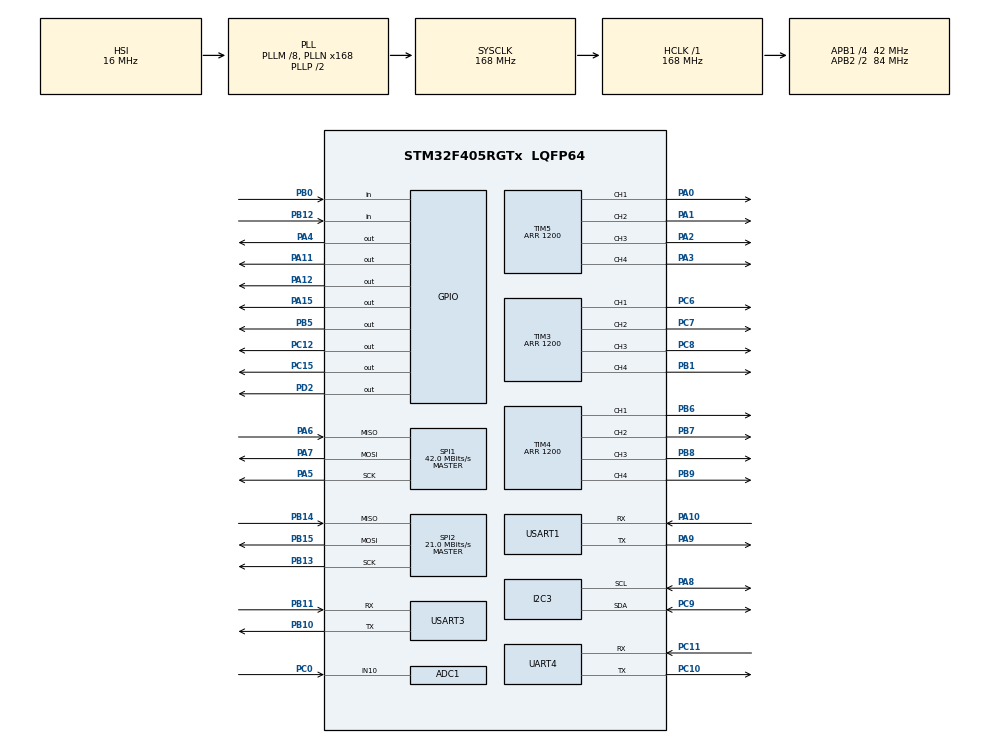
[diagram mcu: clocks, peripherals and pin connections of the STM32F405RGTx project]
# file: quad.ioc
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ADC1.Channel-0\#ChannelRegularConversion=ADC_CHANNEL_10
ADC1.ClockPrescaler=ADC_CLOCK_SYNC_PCLK_DIV4
ADC1.ContinuousConvMode=DISABLE
ADC1.DMAContinuousRequests=DISABLE
ADC1.DataAlign=ADC_DATAALIGN_RIGHT
ADC1.DiscontinuousConvMode=DISABLE
ADC1.EOCSelection=ADC_EOC_SINGLE_CONV
ADC1.EnableAnalogWatchDog=false
ADC1.ExternalTrigConvEdge=ADC_EXTERNALTRIGCONVEDGE_NONE
ADC1.InjNumberOfConversion=0
ADC1.NbrOfConversion=1
ADC1.NbrOfConversionFlag=1
ADC1.Rank-0\#ChannelRegularConversion=1
ADC1.Resolution=ADC_RESOLUTION_12B
ADC1.SamplingTime-0\#ChannelRegularConversion=ADC_SAMPLETIME_3CYCLES
ADC1.ScanConvMode=DISABLE
ADC1.master=1
Dma.Request0=USART1_TX
Dma.Request1=UART4_TX
Dma.Request2=USART3_TX
Dma.UART4_TX.1.Direction=DMA_MEMORY_TO_PERIPH
Dma.UART4_TX.1.FIFOMode=DMA_FIFOMODE_DISABLE
Dma.UART4_TX.1.Instance=DMA1_Stream4
Dma.UART4_TX.1.MemDataAlignment=DMA_MDATAALIGN_BYTE
Dma.UART4_TX.1.MemInc=DMA_MINC_ENABLE
Dma.UART4_TX.1.Mode=DMA_NORMAL
Dma.UART4_TX.1.PeriphDataAlignment=DMA_PDATAALIGN_BYTE
Dma.UART4_TX.1.PeriphInc=DMA_PINC_DISABLE
Dma.UART4_TX.1.Priority=DMA_PRIORITY_LOW
Dma.USART1_TX.0.Direction=DMA_MEMORY_TO_PERIPH
Dma.USART1_TX.0.FIFOMode=DMA_FIFOMODE_DISABLE
Dma.USART1_TX.0.Instance=DMA2_Stream7
Dma.USART1_TX.0.MemDataAlignment=DMA_MDATAALIGN_BYTE
Dma.USART1_TX.0.MemInc=DMA_MINC_ENABLE
Dma.USART1_TX.0.Mode=DMA_NORMAL
Dma.USART1_TX.0.PeriphDataAlignment=DMA_PDATAALIGN_BYTE
Dma.USART1_TX.0.PeriphInc=DMA_PINC_DISABLE
Dma.USART1_TX.0.Priority=DMA_PRIORITY_LOW
Dma.USART3_TX.2.Direction=DMA_MEMORY_TO_PERIPH
Dma.USART3_TX.2.FIFOMode=DMA_FIFOMODE_DISABLE
Dma.USART3_TX.2.Instance=DMA1_Stream3
Dma.USART3_TX.2.MemDataAlignment=DMA_MDATAALIGN_BYTE
Dma.USART3_TX.2.MemInc=DMA_MINC_ENABLE
Dma.USART3_TX.2.Mode=DMA_NORMAL
Dma.USART3_TX.2.PeriphDataAlignment=DMA_PDATAALIGN_BYTE
Dma.USART3_TX.2.PeriphInc=DMA_PINC_DISABLE
Dma.USART3_TX.2.Priority=DMA_PRIORITY_LOW
Mcu.Family=STM32F4
Mcu.Name=STM32F405RGTx
Mcu.Package=LQFP64
NVIC.DMA1_Stream3_IRQn=true\:0\:0\:false\:false\:true
NVIC.DMA1_Stream4_IRQn=true\:0\:0\:false\:false\:true
NVIC.DMA2_Stream7_IRQn=true\:0\:0\:false\:false\:true
NVIC.PriorityGroup=NVIC_PRIORITYGROUP_4
NVIC.UART4_IRQn=true\:0\:0\:false\:false\:true
NVIC.USART1_IRQn=true\:0\:0\:false\:false\:true
NVIC.USART3_IRQn=true\:0\:0\:false\:false\:true
PA0-WKUP.Signal=S_TIM5_CH1
PA1.Signal=S_TIM5_CH2
PA10.Mode=Asynchronous
PA10.Signal=USART1_RX
PA11.Signal=GPIO_Output
PA12.Signal=GPIO_Output
PA15.Signal=GPIO_Output
PA2.Signal=S_TIM5_CH3
PA3.Signal=S_TIM5_CH4
PA4.Signal=GPIO_Output
PA5.Mode=Full_Duplex_Master
PA5.Signal=SPI1_SCK
PA6.Mode=Full_Duplex_Master
PA6.Signal=SPI1_MISO
PA7.Mode=Full_Duplex_Master
PA7.Signal=SPI1_MOSI
PA8.Mode=I2C
PA8.Signal=I2C3_SCL
PA9.Mode=Asynchronous
PA9.Signal=USART1_TX
PB0.Signal=GPIO_Input
PB1.Signal=S_TIM3_CH4
PB10.Mode=Asynchronous
PB10.Signal=USART3_TX
PB11.Mode=Asynchronous
PB11.Signal=USART3_RX
PB12.Signal=GPIO_Input
PB13.Mode=Full_Duplex_Master
PB13.Signal=SPI2_SCK
PB14.Mode=Full_Duplex_Master
PB14.Signal=SPI2_MISO
PB15.Mode=Full_Duplex_Master
PB15.Signal=SPI2_MOSI
PB5.Signal=GPIO_Output
PB6.Signal=S_TIM4_CH1
PB7.Signal=S_TIM4_CH2
PB8.Signal=S_TIM4_CH3
PB9.Signal=S_TIM4_CH4
PC0.Signal=ADCx_IN10
PC10.Mode=Asynchronous
PC10.Signal=UART4_TX
PC11.Mode=Asynchronous
PC11.Signal=UART4_RX
PC12.Signal=GPIO_Output
PC15-OSC32_OUT.Signal=GPIO_Output
PC6.Signal=S_TIM3_CH1
PC7.Signal=S_TIM3_CH2
PC8.Signal=S_TIM3_CH3
PC9.Mode=I2C
PC9.Signal=I2C3_SDA
PD2.Signal=GPIO_Output
PH0-OSC_IN.Mode=HSE-External-Clock-Source
PH0-OSC_IN.Signal=RCC_OSC_IN
PH1-OSC_OUT.Mode=HSE-External-Clock-Source
PH1-OSC_OUT.Signal=RCC_OSC_OUT
ProjectManager.HeapSize=0x200
ProjectManager.StackSize=0x400
ProjectManager.TargetToolchain=EWARM
RCC.48MHZClocksFreq_Value=84000000
RCC.AHBFreq_Value=168000000
RCC.APB1CLKDivider=RCC_HCLK_DIV4
RCC.APB1Freq_Value=42000000
RCC.APB1TimFreq_Value=84000000
RCC.APB2CLKDivider=RCC_HCLK_DIV2
RCC.APB2Freq_Value=84000000
RCC.APB2TimFreq_Value=168000000
RCC.CortexFreq_Value=168000000
RCC.HCLKFreq_Value=168000000
RCC.HSE_VALUE=8000000
RCC.HSI_VALUE=16000000
RCC.LSE_VALUE=32768
RCC.PLLM=8
RCC.PLLN=168
RCC.SYSCLKFreq_VALUE=168000000
RCC.SYSCLKSource=RCC_SYSCLKSOURCE_PLLCLK
RCC.VCOOutputFreq_Value=336000000
SH.ADCx_IN10.0=ADC1_IN10,IN10
SH.S_TIM3_CH1.0=TIM3_CH1,PWM Generation1 CH1
SH.S_TIM3_CH2.0=TIM3_CH2,PWM Generation2 CH2
SH.S_TIM3_CH3.0=TIM3_CH3,PWM Generation3 CH3
SH.S_TIM3_CH4.0=TIM3_CH4,PWM Generation4 CH4
SH.S_TIM4_CH1.0=TIM4_CH1,PWM Generation1 CH1
SH.S_TIM4_CH2.0=TIM4_CH2,PWM Generation2 CH2
SH.S_TIM4_CH3.0=TIM4_CH3,PWM Generation3 CH3
SH.S_TIM4_CH4.0=TIM4_CH4,PWM Generation4 CH4
SH.S_TIM5_CH1.0=TIM5_CH1,PWM Generation1 CH1
SH.S_TIM5_CH2.0=TIM5_CH2,PWM Generation2 CH2
SH.S_TIM5_CH3.0=TIM5_CH3,PWM Generation3 CH3
SH.S_TIM5_CH4.0=TIM5_CH4,PWM Generation4 CH4
SPI1.CalculateBaudRate=42.0 MBits/s
SPI1.Mode=SPI_MODE_MASTER
SPI2.CalculateBaudRate=21.0 MBits/s
SPI2.Mode=SPI_MODE_MASTER
TIM3.Channel-PWM\ Generation2\ CH2=TIM_CHANNEL_2
TIM3.Channel-PWM\ Generation3\ CH3=TIM_CHANNEL_3
TIM3.Channel-PWM\ Generation4\ CH4=TIM_CHANNEL_4
TIM3.Period=1200
TIM4.Channel-PWM\ Generation2\ CH2=TIM_CHANNEL_2
TIM4.Channel-PWM\ Generation3\ CH3=TIM_CHANNEL_3
TIM4.Channel-PWM\ Generation4\ CH4=TIM_CHANNEL_4
TIM4.Period=1200
TIM5.Channel-PWM\ Generation2\ CH2=TIM_CHANNEL_2
TIM5.Channel-PWM\ Generation3\ CH3=TIM_CHANNEL_3
TIM5.Channel-PWM\ Generation4\ CH4=TIM_CHANNEL_4
TIM5.Period=1200
VP_TIM3_VS_ClockSourceINT.Mode=Internal
VP_TIM4_VS_ClockSourceINT.Mode=Internal
VP_TIM5_VS_ClockSourceINT.Mode=Internal
board=quad

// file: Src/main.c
/**
  ******************************************************************************
  * File Name          : main.c
  * Description        : Main program body
  ******************************************************************************
  *
  * COPYRIGHT(c) 2016 STMicroelectronics
  *
  * Redistribution and use in source and binary forms, with or without modification,
  * are permitted provided that the following conditions are met:
  *   1. Redistributions of source code must retain the above copyright notice,
  *      this list of conditions and the following disclaimer.
  *   2. Redistributions in binary form must reproduce the above copyright notice,
  *      this list of conditions and the following disclaimer in the documentation
  *      and/or other materials provided with the distribution.
  *   3. Neither the name of STMicroelectronics nor the names of its contributors
  *      may be used to endorse or promote products derived from this software
  *      without specific prior written permission.
  *
  * THIS SOFTWARE IS PROVIDED BY THE COPYRIGHT HOLDERS AND CONTRIBUTORS "AS IS"
  * AND ANY EXPRESS OR IMPLIED WARRANTIES, INCLUDING, BUT NOT LIMITED TO, THE
  * IMPLIED WARRANTIES OF MERCHANTABILITY AND FITNESS FOR A PARTICULAR PURPOSE ARE
  * DISCLAIMED. IN NO EVENT SHALL THE COPYRIGHT HOLDER OR CONTRIBUTORS BE LIABLE
  * FOR ANY DIRECT, INDIRECT, INCIDENTAL, SPECIAL, EXEMPLARY, OR CONSEQUENTIAL
  * DAMAGES (INCLUDING, BUT NOT LIMITED TO, PROCUREMENT OF SUBSTITUTE GOODS OR
  * SERVICES; LOSS OF USE, DATA, OR PROFITS; OR BUSINESS INTERRUPTION) HOWEVER
  * CAUSED AND ON ANY THEORY OF LIABILITY, WHETHER IN CONTRACT, STRICT LIABILITY,
  * OR TORT (INCLUDING NEGLIGENCE OR OTHERWISE) ARISING IN ANY WAY OUT OF THE USE
  * OF THIS SOFTWARE, EVEN IF ADVISED OF THE POSSIBILITY OF SUCH DAMAGE.
  *
  ******************************************************************************
  */
#include "stm32f4xx_hal.h"

/* USER CODE BEGIN Includes */
#include "ms5611.h"
#include "mpu9250.h"
#include "log.h"
#include "data.h"
#include "pid.h"
#include "ANO_DT.h"
/* USER CODE END Includes */

ADC_HandleTypeDef hadc1;

I2C_HandleTypeDef hi2c3;

SPI_HandleTypeDef hspi1;
SPI_HandleTypeDef hspi2;

TIM_HandleTypeDef htim3;
TIM_HandleTypeDef htim4;
TIM_HandleTypeDef htim5;

UART_HandleTypeDef huart4;
UART_HandleTypeDef huart1;
UART_HandleTypeDef huart3;
DMA_HandleTypeDef hdma_uart4_tx;
DMA_HandleTypeDef hdma_usart1_tx;
DMA_HandleTypeDef hdma_usart3_tx;

/* USER CODE BEGIN PV */
/* Private variables ---------------------------------------------------------*/

/* USER CODE END PV */

void SystemClock_Config(void);
void Error_Handler(void);
static void MX_GPIO_Init(void);
static void MX_DMA_Init(void);
static void MX_ADC1_Init(void);
static void MX_I2C3_Init(void);
static void MX_SPI1_Init(void);
static void MX_SPI2_Init(void);
static void MX_TIM3_Init(void);
static void MX_TIM4_Init(void);
static void MX_TIM5_Init(void);
static void MX_UART4_Init(void);
static void MX_USART1_UART_Init(void);
static void MX_USART3_UART_Init(void);

void HAL_TIM_MspPostInit(TIM_HandleTypeDef *htim);

/* USER CODE BEGIN PFP */
/* Private function prototypes -----------------------------------------------*/

/* USER CODE END PFP */

/* USER CODE BEGIN 0 */
uint16_t data=0;
float t,p;
int16_t accel[3],gyro[3],mag[3];
uint8_t b=0;
uint32_t adc;

/* USER CODE END 0 */

int main(void)
{

  /* USER CODE BEGIN 1 */
  static uint32_t pass1tick,newtick,pass2tick;
  /* USER CODE END 1 */

  /* MCU Configuration----------------------------------------------------------*/

  /* Reset of all peripherals, Initializes the Flash interface and the Systick. */
  HAL_Init();

  /* Configure the system clock */
  SystemClock_Config();

  /* Initialize all configured peripherals */
  MX_GPIO_Init();
  MX_DMA_Init();
  MX_ADC1_Init();
  MX_I2C3_Init();
  MX_SPI1_Init();
  MX_SPI2_Init();
  MX_TIM3_Init();
  MX_TIM4_Init();
  MX_TIM5_Init();
  MX_UART4_Init();
  MX_USART1_UART_Init();
  MX_USART3_UART_Init();

  /* USER CODE BEGIN 2 */
  HAL_UART_Receive_IT(&huart3,&b,1);
  MPU9250_Init();
  DataInit();
  control_init();
  throttle(00);
  HAL_ADC_Start(&hadc1);
  pass1tick=HAL_GetTick();
  pass2tick=pass1tick;
  /* USER CODE END 2 */

  /* Infinite loop */
  while (1)
  {

  /* USER CODE BEGIN 3 */
    if(((newtick=HAL_GetTick())-pass1tick)>=2)
    {
      pass1tick=newtick;
      UpdateData();
      control_updata();
    }
    if(((newtick=HAL_GetTick())-pass2tick)>=20)
    {
      //transport();
      //printf("test\n");
      adc=HAL_ADC_GetValue(&hadc1);
      pass2tick=newtick;
    }

    //uint8_t a[10]={0xa1,0xa2,0xa3,0xa4,0xa5,0xa6,0xa7,0xa8,0xa9,0xaa};
    //MPU9250_Get9AxisRawData(accel,gyro,mag);
    //UpdataSensorData();

    //HAL_UART_Transmit(&huart1, &a, 1,200);
    //HAL_UART_Transmit_DMA(&huart1,a,10);
    //HAL_UART_Receive_IT(&huart1,&b,1);
    //HAL_Delay(1000);
  }
  /* USER CODE END 3 */

}

/** System Clock Configuration
*/
void SystemClock_Config(void)
{

  RCC_OscInitTypeDef RCC_OscInitStruct;
  RCC_ClkInitTypeDef RCC_ClkInitStruct;

  __HAL_RCC_PWR_CLK_ENABLE();

  __HAL_PWR_VOLTAGESCALING_CONFIG(PWR_REGULATOR_VOLTAGE_SCALE1);

  RCC_OscInitStruct.OscillatorType = RCC_OSCILLATORTYPE_HSI;
  RCC_OscInitStruct.HSIState = RCC_HSI_ON;
  RCC_OscInitStruct.HSICalibrationValue = 16;
  RCC_OscInitStruct.PLL.PLLState = RCC_PLL_ON;
  RCC_OscInitStruct.PLL.PLLSource = RCC_PLLSOURCE_HSI;
  RCC_OscInitStruct.PLL.PLLM = 8;
  RCC_OscInitStruct.PLL.PLLN = 168;
  RCC_OscInitStruct.PLL.PLLP = RCC_PLLP_DIV2;
  RCC_OscInitStruct.PLL.PLLQ = 4;
  if (HAL_RCC_OscConfig(&RCC_OscInitStruct) != HAL_OK)
  {
    Error_Handler();
  }

  RCC_ClkInitStruct.ClockType = RCC_CLOCKTYPE_HCLK|RCC_CLOCKTYPE_SYSCLK
                              |RCC_CLOCKTYPE_PCLK1|RCC_CLOCKTYPE_PCLK2;
  RCC_ClkInitStruct.SYSCLKSource = RCC_SYSCLKSOURCE_PLLCLK;
  RCC_ClkInitStruct.AHBCLKDivider = RCC_SYSCLK_DIV1;
  RCC_ClkInitStruct.APB1CLKDivider = RCC_HCLK_DIV4;
  RCC_ClkInitStruct.APB2CLKDivider = RCC_HCLK_DIV2;
  if (HAL_RCC_ClockConfig(&RCC_ClkInitStruct, FLASH_LATENCY_5) != HAL_OK)
  {
    Error_Handler();
  }

  HAL_SYSTICK_Config(HAL_RCC_GetHCLKFreq()/1000);

  HAL_SYSTICK_CLKSourceConfig(SYSTICK_CLKSOURCE_HCLK);

  /* SysTick_IRQn interrupt configuration */
  HAL_NVIC_SetPriority(SysTick_IRQn, 0, 0);
}

/* ADC1 init function */
static void MX_ADC1_Init(void)
{

  ADC_ChannelConfTypeDef sConfig;

    /**Configure the global features of the ADC (Clock, Resolution, Data Alignment and number of conversion)
    */
  hadc1.Instance = ADC1;
  hadc1.Init.ClockPrescaler = ADC_CLOCK_SYNC_PCLK_DIV4;
  hadc1.Init.Resolution = ADC_RESOLUTION_12B;
  hadc1.Init.ScanConvMode = DISABLE;
  hadc1.Init.ContinuousConvMode = ENABLE;
  hadc1.Init.DiscontinuousConvMode = DISABLE;
  hadc1.Init.ExternalTrigConv = ADC_SOFTWARE_START;
  hadc1.Init.DataAlign = ADC_DATAALIGN_RIGHT;
  hadc1.Init.NbrOfConversion = 1;
  hadc1.Init.DMAContinuousRequests = DISABLE;
  hadc1.Init.EOCSelection = ADC_EOC_SINGLE_CONV;
  if (HAL_ADC_Init(&hadc1) != HAL_OK)
  {
    Error_Handler();
  }

    /**Configure for the selected ADC regular channel its corresponding rank in the sequencer and its sample time.
    */
  sConfig.Channel = ADC_CHANNEL_10;
  sConfig.Rank = 1;
  sConfig.SamplingTime = ADC_SAMPLETIME_3CYCLES;
  if (HAL_ADC_ConfigChannel(&hadc1, &sConfig) != HAL_OK)
  {
    Error_Handler();
  }

}

/* I2C3 init function */
static void MX_I2C3_Init(void)
{

  hi2c3.Instance = I2C3;
  hi2c3.Init.ClockSpeed = 100000;
  hi2c3.Init.DutyCycle = I2C_DUTYCYCLE_2;
  hi2c3.Init.OwnAddress1 = 0;
  hi2c3.Init.AddressingMode = I2C_ADDRESSINGMODE_7BIT;
  hi2c3.Init.DualAddressMode = I2C_DUALADDRESS_DISABLE;
  hi2c3.Init.OwnAddress2 = 0;
  hi2c3.Init.GeneralCallMode = I2C_GENERALCALL_DISABLE;
  hi2c3.Init.NoStretchMode = I2C_NOSTRETCH_DISABLE;
  if (HAL_I2C_Init(&hi2c3) != HAL_OK)
  {
    Error_Handler();
  }

}

/* SPI1 init function */
static void MX_SPI1_Init(void)
{

  hspi1.Instance = SPI1;
  hspi1.Init.Mode = SPI_MODE_MASTER;
  hspi1.Init.Direction = SPI_DIRECTION_2LINES;
  hspi1.Init.DataSize = SPI_DATASIZE_8BIT;
  hspi1.Init.CLKPolarity = SPI_POLARITY_LOW;
  hspi1.Init.CLKPhase = SPI_PHASE_1EDGE;
  hspi1.Init.NSS = SPI_NSS_SOFT;
  hspi1.Init.BaudRatePrescaler = SPI_BAUDRATEPRESCALER_2;
  hspi1.Init.FirstBit = SPI_FIRSTBIT_MSB;
  hspi1.Init.TIMode = SPI_TIMODE_DISABLE;
  hspi1.Init.CRCCalculation = SPI_CRCCALCULATION_DISABLE;
  hspi1.Init.CRCPolynomial = 10;
  if (HAL_SPI_Init(&hspi1) != HAL_OK)
  {
    Error_Handler();
  }

}

/* SPI2 init function */
static void MX_SPI2_Init(void)
{

  hspi2.Instance = SPI2;
  hspi2.Init.Mode = SPI_MODE_MASTER;
  hspi2.Init.Direction = SPI_DIRECTION_2LINES;
  hspi2.Init.DataSize = SPI_DATASIZE_8BIT;
  hspi2.Init.CLKPolarity = SPI_POLARITY_LOW;
  hspi2.Init.CLKPhase = SPI_PHASE_1EDGE;
  hspi2.Init.NSS = SPI_NSS_SOFT;
  hspi2.Init.BaudRatePrescaler = SPI_BAUDRATEPRESCALER_2;
  hspi2.Init.FirstBit = SPI_FIRSTBIT_MSB;
  hspi2.Init.TIMode = SPI_TIMODE_DISABLE;
  hspi2.Init.CRCCalculation = SPI_CRCCALCULATION_DISABLE;
  hspi2.Init.CRCPolynomial = 10;
  if (HAL_SPI_Init(&hspi2) != HAL_OK)
  {
    Error_Handler();
  }

}

/* TIM3 init function */
static void MX_TIM3_Init(void)
{

  TIM_ClockConfigTypeDef sClockSourceConfig;
  TIM_MasterConfigTypeDef sMasterConfig;
  TIM_OC_InitTypeDef sConfigOC;

  htim3.Instance = TIM3;
  htim3.Init.Prescaler = 0;//84m
  htim3.Init.CounterMode = TIM_COUNTERMODE_UP;
  htim3.Init.Period =500 -1;//168k
  htim3.Init.ClockDivision = TIM_CLOCKDIVISION_DIV1;
  if (HAL_TIM_Base_Init(&htim3) != HAL_OK)
  {
    Error_Handler();
  }

  sClockSourceConfig.ClockSource = TIM_CLOCKSOURCE_INTERNAL;
  if (HAL_TIM_ConfigClockSource(&htim3, &sClockSourceConfig) != HAL_OK)
  {
    Error_Handler();
  }

  if (HAL_TIM_PWM_Init(&htim3) != HAL_OK)
  {
    Error_Handler();
  }

  sMasterConfig.MasterOutputTrigger = TIM_TRGO_RESET;
  sMasterConfig.MasterSlaveMode = TIM_MASTERSLAVEMODE_DISABLE;
  if (HAL_TIMEx_MasterConfigSynchronization(&htim3, &sMasterConfig) != HAL_OK)
  {
    Error_Handler();
  }

  sConfigOC.OCMode = TIM_OCMODE_PWM1;
  sConfigOC.Pulse = 0;
  sConfigOC.OCPolarity = TIM_OCPOLARITY_HIGH;
  sConfigOC.OCFastMode = TIM_OCFAST_DISABLE;
  if (HAL_TIM_PWM_ConfigChannel(&htim3, &sConfigOC, TIM_CHANNEL_1) != HAL_OK)
  {
    Error_Handler();
  }

  if (HAL_TIM_PWM_ConfigChannel(&htim3, &sConfigOC, TIM_CHANNEL_2) != HAL_OK)
  {
    Error_Handler();
  }

  if (HAL_TIM_PWM_ConfigChannel(&htim3, &sConfigOC, TIM_CHANNEL_3) != HAL_OK)
  {
    Error_Handler();
  }

  if (HAL_TIM_PWM_ConfigChannel(&htim3, &sConfigOC, TIM_CHANNEL_4) != HAL_OK)
  {
    Error_Handler();
  }

  HAL_TIM_MspPostInit(&htim3);

}

/* TIM4 init function */
static void MX_TIM4_Init(void)
{

  TIM_ClockConfigTypeDef sClockSourceConfig;
  TIM_MasterConfigTypeDef sMasterConfig;
  TIM_OC_InitTypeDef sConfigOC;

  htim4.Instance = TIM4;
  htim4.Init.Prescaler = 0;
  htim4.Init.CounterMode = TIM_COUNTERMODE_UP;
  htim4.Init.Period = 500-1;
  htim4.Init.ClockDivision = TIM_CLOCKDIVISION_DIV1;
  if (HAL_TIM_Base_Init(&htim4) != HAL_OK)
  {
    Error_Handler();
  }

  sClockSourceConfig.ClockSource = TIM_CLOCKSOURCE_INTERNAL;
  if (HAL_TIM_ConfigClockSource(&htim4, &sClockSourceConfig) != HAL_OK)
  {
    Error_Handler();
  }

  if (HAL_TIM_PWM_Init(&htim4) != HAL_OK)
  {
    Error_Handler();
  }

  sMasterConfig.MasterOutputTrigger = TIM_TRGO_RESET;
  sMasterConfig.MasterSlaveMode = TIM_MASTERSLAVEMODE_DISABLE;
  if (HAL_TIMEx_MasterConfigSynchronization(&htim4, &sMasterConfig) != HAL_OK)
  {
    Error_Handler();
  }

  sConfigOC.OCMode = TIM_OCMODE_PWM1;
  sConfigOC.Pulse = 0;
  sConfigOC.OCPolarity = TIM_OCPOLARITY_HIGH;
  sConfigOC.OCFastMode = TIM_OCFAST_DISABLE;
  if (HAL_TIM_PWM_ConfigChannel(&htim4, &sConfigOC, TIM_CHANNEL_1) != HAL_OK)
  {
    Error_Handler();
  }

  if (HAL_TIM_PWM_ConfigChannel(&htim4, &sConfigOC, TIM_CHANNEL_2) != HAL_OK)
  {
    Error_Handler();
  }

  if (HAL_TIM_PWM_ConfigChannel(&htim4, &sConfigOC, TIM_CHANNEL_3) != HAL_OK)
  {
    Error_Handler();
  }

  if (HAL_TIM_PWM_ConfigChannel(&htim4, &sConfigOC, TIM_CHANNEL_4) != HAL_OK)
  {
    Error_Handler();
  }

  HAL_TIM_MspPostInit(&htim4);

}

/* TIM5 init function */
static void MX_TIM5_Init(void)
{

  TIM_ClockConfigTypeDef sClockSourceConfig;
  TIM_MasterConfigTypeDef sMasterConfig;
  TIM_OC_InitTypeDef sConfigOC;

  htim5.Instance = TIM5;
  htim5.Init.Prescaler = 0;
  htim5.Init.CounterMode = TIM_COUNTERMODE_UP;
  htim5.Init.Period = 500-1;
  htim5.Init.ClockDivision = TIM_CLOCKDIVISION_DIV1;
  if (HAL_TIM_Base_Init(&htim5) != HAL_OK)
  {
    Error_Handler();
  }

  sClockSourceConfig.ClockSource = TIM_CLOCKSOURCE_INTERNAL;
  if (HAL_TIM_ConfigClockSource(&htim5, &sClockSourceConfig) != HAL_OK)
  {
    Error_Handler();
  }

  if (HAL_TIM_PWM_Init(&htim5) != HAL_OK)
  {
    Error_Handler();
  }

  sMasterConfig.MasterOutputTrigger = TIM_TRGO_RESET;
  sMasterConfig.MasterSlaveMode = TIM_MASTERSLAVEMODE_DISABLE;
  if (HAL_TIMEx_MasterConfigSynchronization(&htim5, &sMasterConfig) != HAL_OK)
  {
    Error_Handler();
  }

  sConfigOC.OCMode = TIM_OCMODE_PWM1;
  sConfigOC.Pulse = 0;
  sConfigOC.OCPolarity = TIM_OCPOLARITY_HIGH;
  sConfigOC.OCFastMode = TIM_OCFAST_DISABLE;
  if (HAL_TIM_PWM_ConfigChannel(&htim5, &sConfigOC, TIM_CHANNEL_1) != HAL_OK)
  {
    Error_Handler();
  }

  if (HAL_TIM_PWM_ConfigChannel(&htim5, &sConfigOC, TIM_CHANNEL_2) != HAL_OK)
  {
    Error_Handler();
  }

  if (HAL_TIM_PWM_ConfigChannel(&htim5, &sConfigOC, TIM_CHANNEL_3) != HAL_OK)
  {
    Error_Handler();
  }

  if (HAL_TIM_PWM_ConfigChannel(&htim5, &sConfigOC, TIM_CHANNEL_4) != HAL_OK)
  {
    Error_Handler();
  }

  HAL_TIM_MspPostInit(&htim5);

}

/* UART4 init function */
static void MX_UART4_Init(void)
{

  huart4.Instance = UART4;
  huart4.Init.BaudRate = 115200;
  huart4.Init.WordLength = UART_WORDLENGTH_8B;
  huart4.Init.StopBits = UART_STOPBITS_1;
  huart4.Init.Parity = UART_PARITY_NONE;
  huart4.Init.Mode = UART_MODE_TX_RX;
  huart4.Init.HwFlowCtl = UART_HWCONTROL_NONE;
  huart4.Init.OverSampling = UART_OVERSAMPLING_16;
  if (HAL_UART_Init(&huart4) != HAL_OK)
  {
    Error_Handler();
  }

}

/* USART1 init function */
static void MX_USART1_UART_Init(void)
{

  huart1.Instance = USART1;
  huart1.Init.BaudRate = 500000;
  huart1.Init.WordLength = UART_WORDLENGTH_8B;
  huart1.Init.StopBits = UART_STOPBITS_1;
  huart1.Init.Parity = UART_PARITY_NONE;
  huart1.Init.Mode = UART_MODE_TX_RX;
  huart1.Init.HwFlowCtl = UART_HWCONTROL_NONE;
  huart1.Init.OverSampling = UART_OVERSAMPLING_16;
  if (HAL_UART_Init(&huart1) != HAL_OK)
  {
    Error_Handler();
  }

}

/* USART3 init function */
static void MX_USART3_UART_Init(void)
{

  huart3.Instance = USART3;
  huart3.Init.BaudRate = 115200;
  huart3.Init.WordLength = UART_WORDLENGTH_8B;
  huart3.Init.StopBits = UART_STOPBITS_1;
  huart3.Init.Parity = UART_PARITY_NONE;
  huart3.Init.Mode = UART_MODE_TX_RX;
  huart3.Init.HwFlowCtl = UART_HWCONTROL_NONE;
  huart3.Init.OverSampling = UART_OVERSAMPLING_16;
  if (HAL_UART_Init(&huart3) != HAL_OK)
  {
    Error_Handler();
  }

}

static void MX_DMA_Init(void)
{
  /* DMA controller clock enable */
  __HAL_RCC_DMA2_CLK_ENABLE();
  __HAL_RCC_DMA1_CLK_ENABLE();

  /* DMA interrupt init */
  /* DMA1_Stream3_IRQn interrupt configuration */
  HAL_NVIC_SetPriority(DMA1_Stream3_IRQn, 0, 0);
  HAL_NVIC_EnableIRQ(DMA1_Stream3_IRQn);
  /* DMA1_Stream4_IRQn interrupt configuration */
  HAL_NVIC_SetPriority(DMA1_Stream4_IRQn, 0, 0);
  HAL_NVIC_EnableIRQ(DMA1_Stream4_IRQn);
  /* DMA2_Stream7_IRQn interrupt configuration */
  HAL_NVIC_SetPriority(DMA2_Stream7_IRQn, 0, 0);
  HAL_NVIC_EnableIRQ(DMA2_Stream7_IRQn);

}

/** Configure pins as
        * Analog
        * Input
        * Output
        * EVENT_OUT
        * EXTI
*/
static void MX_GPIO_Init(void)
{

  GPIO_InitTypeDef GPIO_InitStruct;

  /* GPIO Ports Clock Enable */
  __HAL_RCC_GPIOC_CLK_ENABLE();
  __HAL_RCC_GPIOH_CLK_ENABLE();
  __HAL_RCC_GPIOA_CLK_ENABLE();
  __HAL_RCC_GPIOB_CLK_ENABLE();
  __HAL_RCC_GPIOD_CLK_ENABLE();

  /*Configure GPIO pin Output Level */
  HAL_GPIO_WritePin(GPIOC, GPIO_PIN_15|GPIO_PIN_12, GPIO_PIN_RESET);

  /*Configure GPIO pin Output Level */
  HAL_GPIO_WritePin(GPIOA, GPIO_PIN_4|GPIO_PIN_11|GPIO_PIN_12|GPIO_PIN_15, GPIO_PIN_RESET);

  /*Configure GPIO pin Output Level */
  HAL_GPIO_WritePin(GPIOD, GPIO_PIN_2, GPIO_PIN_RESET);

  /*Configure GPIO pin Output Level */
  HAL_GPIO_WritePin(GPIOB, GPIO_PIN_5, GPIO_PIN_RESET);

  /*Configure GPIO pins : PC15 PC12 */
  GPIO_InitStruct.Pin = GPIO_PIN_15|GPIO_PIN_12;
  GPIO_InitStruct.Mode = GPIO_MODE_OUTPUT_PP;
  GPIO_InitStruct.Pull = GPIO_NOPULL;
  GPIO_InitStruct.Speed = GPIO_SPEED_FREQ_LOW;
  HAL_GPIO_Init(GPIOC, &GPIO_InitStruct);

  /*Configure GPIO pins : PA4 PA11 PA12 PA15 */
  GPIO_InitStruct.Pin = GPIO_PIN_4|GPIO_PIN_11|GPIO_PIN_12|GPIO_PIN_15;
  GPIO_InitStruct.Mode = GPIO_MODE_OUTPUT_PP;
  GPIO_InitStruct.Pull = GPIO_NOPULL;
  GPIO_InitStruct.Speed = GPIO_SPEED_FREQ_LOW;
  HAL_GPIO_Init(GPIOA, &GPIO_InitStruct);

  /*Configure GPIO pins : PB0 PB12 */
  GPIO_InitStruct.Pin = GPIO_PIN_0|GPIO_PIN_12;
  GPIO_InitStruct.Mode = GPIO_MODE_INPUT;
  GPIO_InitStruct.Pull = GPIO_NOPULL;
  HAL_GPIO_Init(GPIOB, &GPIO_InitStruct);

  /*Configure GPIO pin : PD2 */
  GPIO_InitStruct.Pin = GPIO_PIN_2;
  GPIO_InitStruct.Mode = GPIO_MODE_OUTPUT_PP;
  GPIO_InitStruct.Pull = GPIO_NOPULL;
  GPIO_InitStruct.Speed = GPIO_SPEED_FREQ_LOW;
  HAL_GPIO_Init(GPIOD, &GPIO_InitStruct);

  /*Configure GPIO pin : PB5 */
  GPIO_InitStruct.Pin = GPIO_PIN_5;
  GPIO_InitStruct.Mode = GPIO_MODE_OUTPUT_PP;
  GPIO_InitStruct.Pull = GPIO_NOPULL;
  GPIO_InitStruct.Speed = GPIO_SPEED_FREQ_LOW;
  HAL_GPIO_Init(GPIOB, &GPIO_InitStruct);

}

void Error_Handler(void)
{
  while(1)
  {
  }
}

/************************ (C) COPYRIGHT STMicroelectronics *****END OF FILE****/
